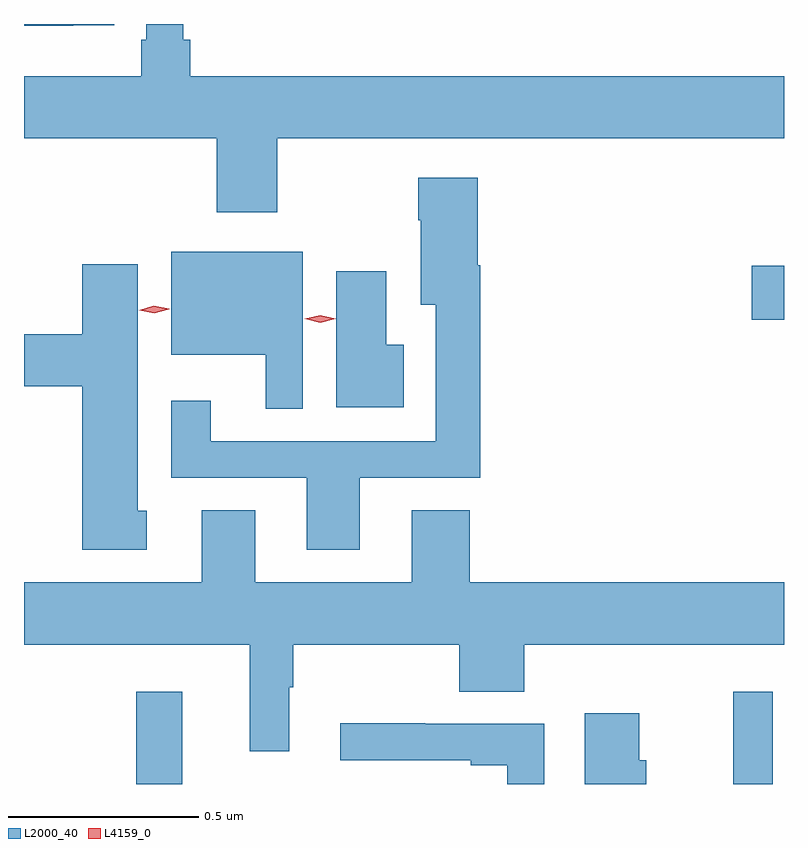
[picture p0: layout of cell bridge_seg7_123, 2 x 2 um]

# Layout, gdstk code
import gdstk
lib = gdstk.Library(unit=1e-6, precision=1e-09)
def R(c, l, rs):  # rectangles x0, y0, x1, y1
    for r in rs: c.add(gdstk.rectangle(r[:2], r[2:], *l))
def P(c, l, *ps):  # polygons
    for p in ps: c.add(gdstk.Polygon(p, *l))
L2000_40 = (2000, 40)
L4159_0 = (4159, 0)

bridge_seg7_123 = lib.new_cell('bridge_seg7_123')
R(bridge_seg7_123, L2000_40, [(801.744,1056.193,801.865,1056.436), (803.315,1056.193,803.419,1056.436), (803.364,1057.415,803.449,1057.557)])
P(bridge_seg7_123, L2000_40, [(802.116,1057.892),(803.449,1057.892),(803.449,1058.056),(801.887,1058.056),(801.887,1058.152),(801.868,1058.152),(801.868,1058.193),(801.771,1058.193),(801.771,1058.152),(801.758,1058.152),(801.758,1058.056),(801.449,1058.056),(801.449,1057.892),(801.956,1057.892),(801.956,1057.698),(802.116,1057.698)],
  [(801.578,1058.19),(801.686,1058.19),(801.686,1058.193),(801.449,1058.193),(801.449,1058.189),(801.578,1058.189)],
  [(802.333,1056.999),(802.649,1056.999),(802.649,1057.558),(802.643,1057.558),(802.643,1057.789),(802.486,1057.789),(802.486,1057.676),(802.493,1057.676),(802.493,1057.454),(802.533,1057.454),(802.533,1057.095),(801.94,1057.095),(801.94,1057.201),(801.836,1057.201),(801.836,1056.999),(802.193,1056.999),(802.193,1056.81),(802.333,1056.81)],
  [(802.182,1057.394),(802.183,1057.394),(802.183,1057.594),(801.836,1057.594),(801.836,1057.322),(802.085,1057.322),(802.085,1057.18),(802.182,1057.18)],
  [(801.772,1056.912),(801.748,1056.912),(801.748,1057.561),(801.602,1057.561),(801.602,1057.376),(801.449,1057.376),(801.449,1057.24),(801.602,1057.24),(801.602,1056.81),(801.772,1056.81)],
  [(802.448,1057.349),(802.402,1057.349),(802.402,1057.543),(802.271,1057.543),(802.271,1057.184),(802.448,1057.184)],
  [(802.147,1056.448),(802.157,1056.448),(802.157,1056.56),(802.594,1056.56),(802.594,1056.436),(802.766,1056.436),(802.766,1056.56),(803.449,1056.56),(803.449,1056.724),(802.622,1056.724),(802.622,1056.914),(802.469,1056.914),(802.469,1056.724),(802.057,1056.724),(802.057,1056.914),(801.917,1056.914),(801.917,1056.724),(801.449,1056.724),(801.449,1056.56),(802.043,1056.56),(802.043,1056.279),(802.147,1056.279)],
  [(803.086,1056.255),(803.068,1056.255),(803.068,1056.379),(802.925,1056.379),(802.925,1056.193),(803.086,1056.193)],
  [(802.818,1056.351),(802.505,1056.351),(802.505,1056.353),(802.281,1056.353),(802.281,1056.255),(802.625,1056.255),(802.625,1056.243),(802.721,1056.243),(802.721,1056.193),(802.818,1056.193)])
P(bridge_seg7_123, L4159_0, [(802.228,1057.407),(802.188,1057.417),(802.188,1057.417),(802.188,1057.418),(802.228,1057.427),(802.269,1057.418),(802.269,1057.417),(802.269,1057.417)],
  [(801.792,1057.432),(801.752,1057.44),(801.752,1057.44),(801.752,1057.44),(801.791,1057.452),(801.831,1057.444),(801.831,1057.443),(801.831,1057.443)])

lib.write_gds('bridge_seg7_123.gds')
